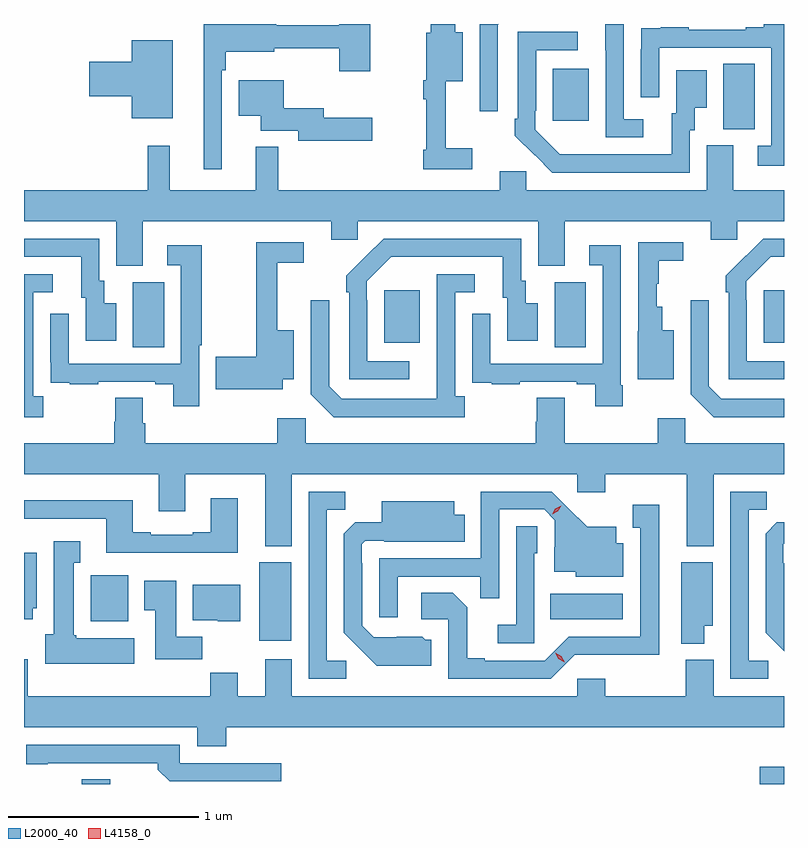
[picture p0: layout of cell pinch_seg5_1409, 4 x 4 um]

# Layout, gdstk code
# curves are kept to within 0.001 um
import gdstk
lib = gdstk.Library(unit=1e-6, precision=1e-09)
def R(c, l, rs):  # rectangles x0, y0, x1, y1
    for r in rs: c.add(gdstk.rectangle(r[:2], r[2:], *l))
def P(c, l, *ps):  # polygons
    for p in ps: c.add(gdstk.Polygon(p, *l))
L2000_40 = (2000, 40)
L4158_0 = (4158, 0)

pinch_seg5_1409 = lib.new_cell('pinch_seg5_1409')
R(pinch_seg5_1409, L2000_40, [(130.016,891.094,130.168,891.119), (133.586,891.094,133.713,891.184), (130.952,891.849,131.119,892.261), (130.064,891.95,130.261,892.192), (132.484,891.962,132.865,892.096), (130.286,893.392,130.45,893.736), (132.506,893.392,132.67,893.736), (131.609,893.417,131.797,893.692), (133.607,893.417,133.713,893.692), (133.394,894.541,133.558,894.884), (132.497,894.585,132.685,894.859)])
P(pinch_seg5_1409, L2000_40, [(130.755,894.851),(130.775,894.851),(130.775,894.947),(131.029,894.947),(131.029,894.966),(131.371,894.966),(131.371,894.846),(131.536,894.846),(131.536,895.094),(131.371,895.094),(131.371,895.087),(131.041,895.087),(131.041,895.094),(130.658,895.094),(130.658,894.33),(130.755,894.33)],
  [(132.073,894.439),(131.933,894.439),(131.933,894.794),(132.022,894.794),(132.022,895.051),(131.983,895.051),(131.983,895.094),(131.854,895.094),(131.854,895.047),(131.83,895.047),(131.83,894.798),(131.815,894.798),(131.815,894.698),(131.83,894.698),(131.83,894.433),(131.815,894.433),(131.815,894.33),(132.073,894.33)],
  [(133.713,895.094),(133.607,895.094),(133.607,895.078),(133.511,895.078),(133.511,895.065),(133.211,895.065),(133.211,895.078),(133.063,895.078),(133.063,895.071),(132.961,895.071),(132.961,894.962),(132.96,894.962),(132.96,894.708),(133.056,894.708),(133.056,894.969),(133.647,894.969),(133.647,894.453),(133.575,894.453),(133.575,894.348),(133.713,894.348)],
  [(132.973,894.594),(132.87,894.594),(132.87,895.094),(132.773,895.094),(132.773,894.955),(132.774,894.955),(132.774,894.498),(132.973,894.498)],
  [(132.207,895.089),(132.212,895.094),(132.111,895.094),(132.111,894.636),(132.207,894.636)],
  [(133.218,894.534),(133.243,894.534),(133.243,894.653),(133.306,894.653),(133.306,894.85),(133.145,894.85),(133.145,894.624),(133.121,894.624),(133.121,894.408),(132.534,894.409),(132.405,894.537),(132.405,894.637),(132.408,894.637),(132.408,894.957),(132.628,894.957),(132.628,895.053),(132.312,895.053),(132.312,894.595),(132.297,894.595),(132.297,894.507),(132.494,894.312),(133.218,894.312)],
  [(130.495,895.009),(130.28,895.009),(130.28,894.896),(130.056,894.896),(130.056,894.713),(130.28,894.713),(130.28,894.599),(130.495,894.599)],
  [(131.545,894.601),(131.29,894.601),(131.29,894.651),(131.08,894.651),(131.08,894.799),(130.844,894.799),(130.844,894.611),(130.958,894.611),(130.958,894.533),(131.156,894.533),(131.156,894.479),(131.545,894.479)],
  [(130.339,894.056),(131.33,894.056),(131.33,893.958),(131.469,893.958),(131.469,894.056),(132.419,894.056),(132.419,893.821),(132.559,893.821),(132.559,894.056),(133.328,894.056),(133.328,893.958),(133.467,893.958),(133.467,894.056),(133.713,894.056),(133.713,894.22),(133.447,894.22),(133.447,894.456),(133.307,894.456),(133.307,894.22),(132.357,894.22),(132.357,894.318),(132.218,894.318),(132.218,894.22),(131.051,894.22),(131.051,894.448),(130.934,894.448),(130.934,894.22),(130.481,894.22),(130.481,894.454),(130.363,894.454),(130.363,894.22),(129.713,894.22),(129.713,894.056),(130.199,894.056),(130.199,893.821),(130.339,893.821)],
  [(130.198,893.623),(130.135,893.623),(130.135,893.742),(130.11,893.742),(130.11,893.964),(129.713,893.964),(129.713,893.868),(130.013,893.868),(130.013,893.652),(130.037,893.652),(130.037,893.427),(130.198,893.427)],
  [(133.713,893.319),(133.518,893.319),(133.518,893.639),(133.515,893.639),(133.515,893.739),(133.644,893.868),(133.713,893.868),(133.713,893.964),(133.604,893.964),(133.407,893.769),(133.407,893.681),(133.422,893.681),(133.422,893.223),(133.713,893.223)],
  [(131.74,893.319),(131.52,893.319),(131.52,893.639),(131.517,893.639),(131.517,893.739),(131.646,893.868),(132.233,893.868),(132.233,893.652),(132.257,893.652),(132.257,893.427),(132.418,893.427),(132.418,893.623),(132.355,893.623),(132.355,893.742),(132.33,893.742),(132.33,893.964),(131.606,893.964),(131.409,893.769),(131.409,893.681),(131.424,893.681),(131.424,893.223),(131.74,893.223)],
  [(131.074,893.225),(131.134,893.225),(131.134,893.482),(131.045,893.482),(131.045,893.838),(131.185,893.838),(131.185,893.946),(130.935,893.946),(130.935,893.342),(130.722,893.342),(130.722,893.171),(131.074,893.171)],
  [(133.132,893.482),(133.072,893.482),(133.072,893.605),(133.043,893.605),(133.043,893.727),(133.054,893.727),(133.054,893.848),(133.183,893.848),(133.183,893.946),(132.945,893.946),(132.945,893.478),(132.944,893.478),(132.944,893.225),(133.132,893.225)],
  [(130.635,893.404),(130.648,893.404),(130.648,893.929),(130.467,893.929),(130.467,893.823),(130.539,893.823),(130.539,893.307),(129.948,893.307),(129.948,893.569),(129.852,893.569),(129.852,893.314),(129.853,893.314),(129.853,893.205),(129.955,893.205),(129.955,893.199),(130.103,893.199),(130.103,893.211),(130.403,893.211),(130.403,893.199),(130.499,893.199),(130.499,893.082),(130.635,893.082)],
  [(132.864,893.194),(132.855,893.194),(132.855,893.929),(132.687,893.929),(132.687,893.823),(132.759,893.823),(132.759,893.307),(132.168,893.307),(132.168,893.569),(132.072,893.569),(132.072,893.314),(132.073,893.314),(132.073,893.205),(132.175,893.205),(132.175,893.199),(132.323,893.199),(132.323,893.211),(132.623,893.211),(132.623,893.199),(132.719,893.199),(132.719,893.082),(132.864,893.082)],
  [(132.034,893.134),(131.982,893.134),(131.982,893.682),(132.085,893.682),(132.085,893.778),(131.886,893.778),(131.885,893.121),(131.385,893.121),(131.319,893.187),(131.319,893.641),(131.223,893.641),(131.223,893.145),(131.344,893.024),(132.034,893.024)],
  [(129.814,893.134),(129.762,893.134),(129.762,893.682),(129.864,893.682),(129.864,893.778),(129.713,893.778),(129.713,893.024),(129.814,893.024)],
  [(133.713,893.121),(133.383,893.121),(133.317,893.187),(133.317,893.641),(133.221,893.641),(133.221,893.145),(133.342,893.024),(133.713,893.024)],
  [(131.122,892.724),(132.624,892.724),(132.624,892.629),(132.771,892.629),(132.771,892.724),(133.202,892.724),(133.202,892.346),(133.342,892.346),(133.342,892.724),(133.713,892.724),(133.713,892.888),(133.194,892.888),(133.194,893.02),(133.048,893.02),(133.048,892.888),(132.559,892.888),(132.559,893.126),(132.412,893.126),(132.412,893.001),(132.407,893.001),(132.407,892.888),(131.196,892.888),(131.196,893.02),(131.045,893.02),(131.045,892.888),(130.352,892.888),(130.352,892.994),(130.339,892.994),(130.339,893.126),(130.192,893.126),(130.192,893.001),(130.187,893.001),(130.187,892.888),(129.713,892.888),(129.713,892.724),(130.421,892.724),(130.421,892.53),(130.561,892.53),(130.561,892.724),(130.982,892.724),(130.982,892.346),(131.122,892.346)],
  [(131.679,892.185),(132.115,892.185),(132.115,892.072),(132.213,892.072),(132.213,892.539),(132.45,892.539),(132.507,892.482),(132.507,892.34),(132.503,892.34),(132.503,892.211),(132.618,892.211),(132.618,892.184),(132.868,892.184),(132.868,892.36),(132.829,892.36),(132.829,892.447),(132.677,892.447),(132.49,892.632),(132.117,892.632),(132.117,892.281),(131.583,892.281),(131.583,891.972),(131.679,891.972)],
  [(131.41,891.744),(131.307,891.744),(131.307,892.537),(131.403,892.537),(131.403,892.632),(131.211,892.632),(131.211,891.648),(131.41,891.648)],
  [(133.63,891.744),(133.527,891.744),(133.527,892.537),(133.623,892.537),(133.623,892.632),(133.431,892.632),(133.431,891.648),(133.63,891.648)],
  [(130.837,892.597),(130.697,892.597),(130.697,892.42),(130.601,892.42),(130.601,892.407),(130.381,892.407),(130.381,892.42),(130.285,892.42),(130.285,892.588),(129.713,892.588),(129.713,892.491),(130.145,892.491),(130.145,892.31),(130.837,892.31)],
  [(131.857,891.852),(131.826,891.852),(131.81,891.868),(131.553,891.867),(131.493,891.927),(131.493,892.256),(131.49,892.256),(131.49,892.356),(131.508,892.374),(131.608,892.374),(131.608,892.37),(132.032,892.37),(132.032,892.51),(131.977,892.51),(131.977,892.582),(131.597,892.582),(131.597,892.471),(131.456,892.471),(131.397,892.412),(131.397,891.89),(131.569,891.716),(131.857,891.716)],
  [(132.612,891.774),(133.057,891.773),(133.057,892.564),(132.917,892.564),(132.917,892.443),(132.956,892.443),(132.956,891.87),(132.579,891.87),(132.453,891.744),(132.139,891.744),(132.139,891.757),(132.045,891.757),(132.045,892.024),(131.969,892.1),(131.805,892.1),(131.805,891.96),(131.946,891.96),(131.946,891.648),(132.486,891.648)],
  [(133.713,892.256),(133.71,892.256),(133.71,892.356),(133.713,892.359),(133.713,892.471),(133.676,892.471),(133.617,892.412),(133.617,891.89),(133.713,891.794)],
  [(132.399,892.308),(132.414,892.308),(132.414,892.451),(132.303,892.451),(132.303,891.931),(132.207,891.931),(132.207,891.834),(132.399,891.834)],
  [(130.294,891.862),(129.989,891.862),(129.989,891.876),(129.976,891.876),(129.976,892.259),(130.009,892.259),(130.009,892.372),(129.869,892.372),(129.869,891.882),(129.824,891.882),(129.824,891.728),(130.294,891.728)],
  [(129.76,892.02),(129.781,892.02),(129.781,892.312),(129.713,892.312),(129.713,891.96),(129.76,891.96)],
  [(133.294,891.926),(133.339,891.926),(133.339,892.261),(133.172,892.261),(133.172,891.833),(133.294,891.833)],
  [(130.652,891.868),(130.513,891.868),(130.513,892.165),(130.346,892.165),(130.346,892.009),(130.403,892.009),(130.403,891.75),(130.652,891.75)],
  [(130.852,892.144),(130.601,892.144),(130.601,891.956),(130.734,891.956),(130.734,891.95),(130.852,891.95)],
  [(130.778,891.392),(133.713,891.392),(133.713,891.556),(133.342,891.556),(133.342,891.748),(133.195,891.748),(133.195,891.556),(132.771,891.556),(132.771,891.649),(132.624,891.649),(132.624,891.556),(131.122,891.556),(131.122,891.751),(130.982,891.751),(130.982,891.556),(130.837,891.556),(130.837,891.68),(130.693,891.68),(130.693,891.556),(129.733,891.556),(129.733,891.751),(129.713,891.751),(129.713,891.392),(130.625,891.392),(130.625,891.293),(130.778,891.293)],
  [(131.068,891.204),(130.533,891.204),(130.533,891.3),(129.726,891.3),(129.726,891.199),(129.838,891.199),(129.838,891.204),(130.418,891.204),(130.418,891.17),(130.479,891.108),(131.068,891.108)])
P(pinch_seg5_1409, L4158_0, [(132.492,892.514),(132.492,892.514),(132.509,892.543),(132.54,892.558),(132.54,892.558),(132.54,892.558),(132.523,892.529),(132.492,892.514)],
  [(132.558,891.734),(132.526,891.753),(132.508,891.785),(132.508,891.786),(132.509,891.786),(132.54,891.767),(132.558,891.735),(132.558,891.734)])

lib.write_gds('pinch_seg5_1409.gds')
